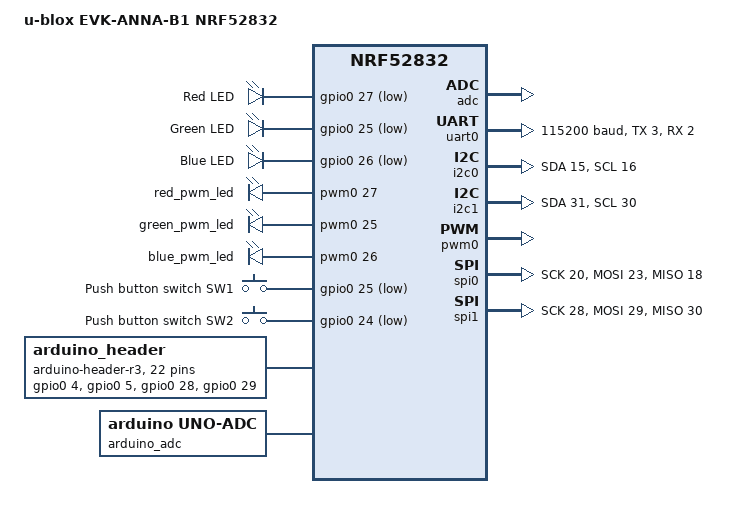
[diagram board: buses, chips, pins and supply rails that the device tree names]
/*
 * Copyright (c) 2021 u-blox AG
 *
 * SPDX-License-Identifier: Apache-2.0
 */

/dts-v1/;
#include <nordic/nrf52832_qfaa.dtsi>

/ {
	model = "u-blox EVK-ANNA-B1 NRF52832";
	compatible = "u-blox,ubx_evkannab1_nrf52832";

	chosen {
		zephyr,console = &uart0;
		zephyr,shell-uart = &uart0;
		zephyr,uart-mcumgr = &uart0;
		zephyr,bt-mon-uart = &uart0;
		zephyr,bt-c2h-uart = &uart0;
		zephyr,sram = &sram0;
		zephyr,flash = &flash0;
		zephyr,code-partition = &slot0_partition;
	};

	leds {
		compatible = "gpio-leds";
		led0: led_0 {
			/* ANNA-B1 GPIO_29 */
			gpios = <&gpio0 27 GPIO_ACTIVE_LOW>;
			label = "Red LED";
		};
		led1: led_1 {
			/* ANNA-B1 GPIO_30 */
			gpios = <&gpio0 25 GPIO_ACTIVE_LOW>;
			label = "Green LED";
		};
		led2: led_2 {
			/*ANNA-B1 GPIO_31 */
			gpios = <&gpio0 26 GPIO_ACTIVE_LOW>;
			label = "Blue LED";
		};
	};

	pwmleds {
		compatible = "pwm-leds";
		red_pwm_led: red_pwm_led {
			pwms = <&pwm0 27>;
		};
		green_pwm_led: green_pwm_led {
			pwms = <&pwm0 25>;
		};
		blue_pwm_led: blue_pwm_led {
			pwms = <&pwm0 26>;
		};
	};

	buttons {
		compatible = "gpio-keys";
		button0: button_0 {
			/*  EVK-ANNA-B1 SW1 button */
			gpios = <&gpio0 25 (GPIO_PULL_UP | \
				GPIO_ACTIVE_LOW)>;
			label = "Push button switch SW1";
		};
		button1: button_1 {
			/* EVK-ANNA-B1 SW2 button */
			gpios = <&gpio0 24 (GPIO_PULL_UP | \
				GPIO_ACTIVE_LOW)>;
			label = "Push button switch SW2";
		};
	};

	arduino_header: connector {
		compatible = "arduino-header-r3";
		#gpio-cells = <2>;
		gpio-map-mask = <0xffffffff 0xffffffc0>;
		gpio-map-pass-thru = <0 0x3f>;
		gpio-map = <0 0 &gpio0 4 0>,	/* A0 */
			   <1 0 &gpio0 5 0>,	/* A1 */
			   <2 0 &gpio0 28 0>,	/* A2 */
			   <3 0 &gpio0 29 0>,	/* A3 */
			   <4 0 &gpio0 30 0>,	/* A4 */
			   <5 0 &gpio0 31 0>,	/* A5 */
			   <6 0 &gpio0 2 0>,	/* D0 */
			   <7 0 &gpio0 3 0>,	/* D1 */
			   <8 0 &gpio0 19 0>,	/* D2 */
			   <9 0 &gpio0 11 0>,	/* D3 */
			   <10 0 &gpio0 27 0>,	/* D4 */
			   <11 0 &gpio0 26 0>,	/* D5 */
			   <12 0 &gpio0 10 0>,	/* D6 */
			   <13 0 &gpio0 9 0>,	/* D7 */
			   <14 0 &gpio0 14 0>,	/* D8 */
			   <15 0 &gpio0 24 0>,	/* D9 */
			   <16 0 &gpio0 22 0>,	/* D10 */
			   <17 0 &gpio0 23 0>,	/* D11 */
			   <18 0 &gpio0 18 0>,	/* D12 */
			   <19 0 &gpio0 20 0>,	/* D13 */
			   <20 0 &gpio0 15 0>,	/* D14 */
			   <21 0 &gpio0 16 0>;	/* D15 */
	};

	arduino_adc: analog-connector {
		compatible = "arduino,uno-adc";
		#io-channel-cells = <1>;
		io-channel-map = <0 &adc 1>,	/* A0 = P0.4 = AIN1 */
				 <1 &adc 2>,	/* A1 = P0.5 = AIN2 */
				 <2 &adc 4>,	/* A2 = P0.28 = AIN4 */
				 <3 &adc 5>,	/* A3 = P0.29 = AIN5 */
				 <4 &adc 6>,	/* A4 = P0.30 = AIN6 */
				 <5 &adc 7>;	/* A5 = P0.31 = AIN7 */
	};

	/* These aliases are provided for compatibility with samples */
	aliases {
		led0 = &led0;
		led1 = &led1;
		led2 = &led2;
		pwm-led0 = &red_pwm_led;
		pwm-led1 = &green_pwm_led;
		pwm-led2 = &blue_pwm_led;
		red-pwm-led = &red_pwm_led;
		green-pwm-led = &green_pwm_led;
		blue-pwm-led = &blue_pwm_led;
		sw0 = &button0;
		sw1 = &button1;
	};
};

&adc {
	status = "okay";
};

&gpiote {
	status = "okay";
};

&gpio0 {
	status = "okay";
};


&uart0 {
	compatible = "nordic,nrf-uarte";
	status = "okay";
	current-speed = <115200>;
	tx-pin = <3>;
	rx-pin = <2>;
	rts-pin = <11>;
	cts-pin = <19>;
};

arduino_i2c: &i2c0 {
	compatible = "nordic,nrf-twi";
	status = "okay";
	sda-pin = <15>;
	scl-pin = <16>;
};

&i2c1 {
	compatible = "nordic,nrf-twi";
	/* Cannot be used together with spi1. */
	/* status = "okay"; */
	sda-pin = <31>;
	scl-pin = <30>;
};

&pwm0 {
	status = "okay";
	ch0-pin = <27>;
	ch0-inverted;
	status = "okay";
	ch1-pin = <25>;
	ch1-inverted;
	status = "okay";
	ch2-pin = <26>;
	ch2-inverted;
};

arduino_spi: &spi0 {
	compatible = "nordic,nrf-spi";
	/* Cannot be use simultaneously with i2c0 */
	/* status = "okay"; */
	sck-pin = <20>;              /* D13 */
	mosi-pin = <23>;             /* D11 */
	miso-pin = <18>;             /* D12 */
	cs-gpios = <&arduino_header 16 GPIO_ACTIVE_LOW>; /* D10 */
};

&spi1 {
	compatible = "nordic,nrf-spi";
	status = "okay";
	sck-pin = <28>;
	mosi-pin = <29>;
	miso-pin = <30>;
};

&flash0 {
	partitions {
		compatible = "fixed-partitions";
		#address-cells = <1>;
		#size-cells = <1>;

		boot_partition: partition@0 {
			label = "mcuboot";
			reg = <0x00000000 0xc000>;
		};
		slot0_partition: partition@c000 {
			label = "image-0";
			reg = <0x0000C000 0x32000>;
		};
		slot1_partition: partition@3e000 {
			label = "image-1";
			reg = <0x0003E000 0x32000>;
		};
		scratch_partition: partition@70000 {
			label = "image-scratch";
			reg = <0x00070000 0xa000>;
		};
		storage_partition: partition@7a000 {
			label = "storage";
			reg = <0x0007a000 0x00006000>;
		};
	};
};
